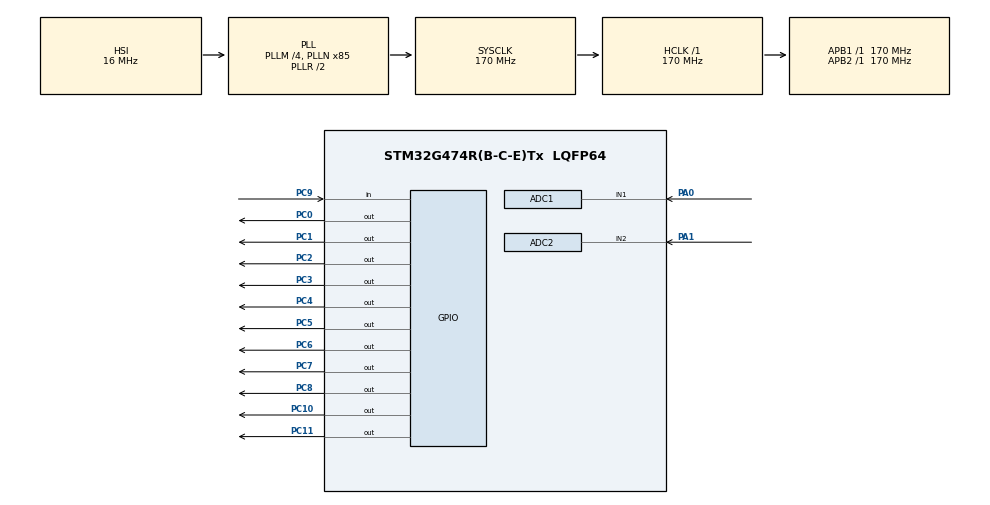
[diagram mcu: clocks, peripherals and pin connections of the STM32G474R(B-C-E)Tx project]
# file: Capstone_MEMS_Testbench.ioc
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ADC1.Channel-3\#ChannelRegularConversion=ADC_CHANNEL_1
ADC1.ClockPrescaler=ADC_CLOCK_ASYNC_DIV4
ADC1.DMAAccessModeView=ENABLE
ADC1.DMAContinuousRequests=ENABLE
ADC1.ExternalTrigConv=ADC_EXTERNALTRIG_T6_TRGO
ADC1.Mode=ADC_DUALMODE_REGSIMULT
ADC1.NbrOfConversionFlag=1
ADC1.OffsetNumber-3\#ChannelRegularConversion=ADC_OFFSET_NONE
ADC1.Rank-3\#ChannelRegularConversion=1
ADC1.SamplingTime-3\#ChannelRegularConversion=ADC_SAMPLETIME_12CYCLES_5
ADC1.master=1
ADC2.Channel-0\#ChannelRegularConversion=ADC_CHANNEL_2
ADC2.ClockPrescaler=ADC_CLOCK_ASYNC_DIV4
ADC2.DMAAccessModeView=ENABLE
ADC2.Mode=ADC_DUALMODE_REGSIMULT
ADC2.NbrOfConversionFlag=1
ADC2.OffsetNumber-0\#ChannelRegularConversion=ADC_OFFSET_NONE
ADC2.Rank-0\#ChannelRegularConversion=1
ADC2.SamplingTime-0\#ChannelRegularConversion=ADC_SAMPLETIME_12CYCLES_5
Dma.ADC1.0.Direction=DMA_PERIPH_TO_MEMORY
Dma.ADC1.0.EventEnable=DISABLE
Dma.ADC1.0.Instance=DMA1_Channel1
Dma.ADC1.0.MemDataAlignment=DMA_MDATAALIGN_WORD
Dma.ADC1.0.MemInc=DMA_MINC_ENABLE
Dma.ADC1.0.Mode=DMA_CIRCULAR
Dma.ADC1.0.PeriphDataAlignment=DMA_PDATAALIGN_WORD
Dma.ADC1.0.PeriphInc=DMA_PINC_DISABLE
Dma.ADC1.0.Polarity=HAL_DMAMUX_REQ_GEN_RISING
Dma.ADC1.0.Priority=DMA_PRIORITY_VERY_HIGH
Dma.ADC1.0.RequestNumber=1
Dma.ADC1.0.SignalID=NONE
Dma.ADC1.0.SyncEnable=DISABLE
Dma.ADC1.0.SyncPolarity=HAL_DMAMUX_SYNC_NO_EVENT
Dma.ADC1.0.SyncRequestNumber=1
Dma.ADC1.0.SyncSignalID=NONE
Dma.Request0=ADC1
Mcu.Family=STM32G4
Mcu.Name=STM32G474R(B-C-E)Tx
Mcu.Package=LQFP64
NUCLEO-G474RE.BUTTON=1
NUCLEO-G474RE.Bsp_Common_DEMO=true
NUCLEO-G474RE.LD2=true
NUCLEO-G474RE.VCP=true
NVIC.DMA1_Channel1_IRQn=true\:0\:0\:false\:false\:true\:false\:true\:true
NVIC.EXTI15_10_IRQn=true\:0\:0\:false\:false\:true\:false\:true\:true
NVIC.PriorityGroup=NVIC_PRIORITYGROUP_4
PA0.Mode=IN1-Single-Ended
PA0.Signal=ADC1_IN1
PA1.Mode=IN2-Single-Ended
PA1.Signal=ADC2_IN2
PA13.GPIO_Label=T_SWDIO
PA13.Signal=SYS_JTMS-SWDIO
PA14.GPIO_Label=T_SWCLK
PA14.Signal=SYS_JTCK-SWCLK
PA2.Signal=LPUART1_TX
PA3.Signal=LPUART1_RX
PB3.GPIO_Label=T_SWO
PB3.Signal=SYS_JTDO-SWO
PC0.GPIO_Speed=GPIO_SPEED_FREQ_VERY_HIGH
PC0.Signal=GPIO_Output
PC1.GPIO_Speed=GPIO_SPEED_FREQ_VERY_HIGH
PC1.Signal=GPIO_Output
PC10.Signal=GPIO_Output
PC11.Signal=GPIO_Output
PC14-OSC32_IN.GPIO_Label=RCC_OSC32_IN
PC14-OSC32_IN.Signal=RCC_OSC32_IN
PC15-OSC32_OUT.GPIO_Label=RCC_OSC32_OUT
PC15-OSC32_OUT.Signal=RCC_OSC32_OUT
PC2.GPIO_Speed=GPIO_SPEED_FREQ_VERY_HIGH
PC2.Signal=GPIO_Output
PC3.GPIO_Speed=GPIO_SPEED_FREQ_VERY_HIGH
PC3.Signal=GPIO_Output
PC4.GPIO_Speed=GPIO_SPEED_FREQ_VERY_HIGH
PC4.Signal=GPIO_Output
PC5.GPIO_Speed=GPIO_SPEED_FREQ_VERY_HIGH
PC5.Signal=GPIO_Output
PC6.GPIO_Speed=GPIO_SPEED_FREQ_VERY_HIGH
PC6.Signal=GPIO_Output
PC7.GPIO_Speed=GPIO_SPEED_FREQ_VERY_HIGH
PC7.Signal=GPIO_Output
PC8.GPIO_Speed=GPIO_SPEED_FREQ_VERY_HIGH
PC8.Signal=GPIO_Output
PC9.Signal=GPIO_Input
PF0-OSC_IN.GPIO_Label=RCC_OSC_IN
PF0-OSC_IN.Signal=RCC_OSC_IN
PF1-OSC_OUT.GPIO_Label=RCC_OSC_OUT
PF1-OSC_OUT.Signal=RCC_OSC_OUT
ProjectManager.HeapSize=0x200
ProjectManager.StackSize=0x400
ProjectManager.TargetToolchain=CMake
RCC.ADC12Freq_Value=170000000
RCC.ADC345Freq_Value=170000000
RCC.AHBFreq_Value=170000000
RCC.APB1Freq_Value=170000000
RCC.APB1TimFreq_Value=170000000
RCC.APB2Freq_Value=170000000
RCC.APB2TimFreq_Value=170000000
RCC.CortexFreq_Value=170000000
RCC.EXTERNAL_CLOCK_VALUE=12288000
RCC.HCLKFreq_Value=170000000
RCC.HSE_VALUE=24000000
RCC.HSI48_VALUE=48000000
RCC.HSI_VALUE=16000000
RCC.LSE_VALUE=32768
RCC.PLLM=RCC_PLLM_DIV4
RCC.PLLN=85
RCC.RTCClockSelection=RCC_RTCCLKSOURCE_LSE
RCC.SYSCLKFreq_VALUE=170000000
RCC.SYSCLKSource=RCC_SYSCLKSOURCE_PLLCLK
RCC.USBFreq_Value=170000000
RCC.VCOOutputFreq_Value=340000000
TIM6.PeriodNoDither=99
TIM6.Prescaler=169
TIM6.TIM_MasterOutputTrigger=TIM_TRGO_UPDATE
VP_NUCLEO-G474RE_VS_BSP_COMMON.Mode=COMMON
VP_SYS_VS_DBSignals.Mode=DisableDeadBatterySignals
VP_TIM6_VS_ClockSourceINT.Mode=Enable_Timer
board=NUCLEO-G474RE

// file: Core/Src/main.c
/* USER CODE BEGIN Header */
/**
  ******************************************************************************
  * @file           : main.c
  * @brief          : Main program body
  ******************************************************************************
  * @attention
  *
  * Copyright (c) 2026 STMicroelectronics.
  * All rights reserved.
  *
  * This software is licensed under terms that can be found in the LICENSE file
  * in the root directory of this software component.
  * If no LICENSE file comes with this software, it is provided AS-IS.
  *
  ******************************************************************************
  */
/* USER CODE END Header */
#include "main.h"
#include "stm32g4xx_hal.h"

COM_InitTypeDef BspCOMInit;
__IO uint32_t BspButtonState = BUTTON_RELEASED;
ADC_HandleTypeDef hadc1;
ADC_HandleTypeDef hadc2;
DMA_HandleTypeDef hdma_adc1;

TIM_HandleTypeDef htim6;

/* USER CODE BEGIN PV */
#define ADC_BUFFER_SIZE 4096
uint32_t adc_buffer[ADC_BUFFER_SIZE];
/* USER CODE END PV */

void SystemClock_Config(void);
static void MX_GPIO_Init(void);
static void MX_DMA_Init(void);
static void MX_TIM6_Init(void);
static void MX_ADC1_Init(void);
static void MX_ADC2_Init(void);
/* USER CODE BEGIN PFP */
void FT232_WriteByte(uint8_t data);
/* USER CODE END PFP */

int main(void)
{

  /* MCU Configuration--------------------------------------------------------*/

  /* Reset of all peripherals, Initializes the Flash interface and the Systick. */
  HAL_Init();

  /* Configure the system clock */
  SystemClock_Config();

  /* Initialize all configured peripherals */
  MX_GPIO_Init();
  MX_DMA_Init();
  MX_TIM6_Init();
  MX_ADC1_Init();
  MX_ADC2_Init();
  /* USER CODE BEGIN 2 */
  HAL_ADC_Start(&hadc2);   // start slave ADC first

  HAL_ADCEx_MultiModeStart_DMA(
      &hadc1,
      (uint32_t*)adc_buffer,
      ADC_BUFFER_SIZE
  ); // start master ADC with DMA, this will also trigger the slave ADC conversions

  HAL_TIM_Base_Start(&htim6); // start timer, this will trigger the ADC conversions via the timer TRGO
  /* USER CODE END 2 */

  /* Initialize led */
  BSP_LED_Init(LED_GREEN);

  /* Initialize USER push-button, will be used to trigger an interrupt each time it's pressed.*/
  BSP_PB_Init(BUTTON_USER, BUTTON_MODE_EXTI);

  /* Initialize COM1 port (115200, 8 bits (7-bit data + 1 stop bit), no parity */
  BspCOMInit.BaudRate   = 115200;
  BspCOMInit.WordLength = COM_WORDLENGTH_8B;
  BspCOMInit.StopBits   = COM_STOPBITS_1;
  BspCOMInit.Parity     = COM_PARITY_NONE;
  BspCOMInit.HwFlowCtl  = COM_HWCONTROL_NONE;
  if (BSP_COM_Init(COM1, &BspCOMInit) != BSP_ERROR_NONE)
  {
    Error_Handler();
  }

  /* USER CODE BEGIN BSP */

  /* -- Sample board code to send message over COM1 port ---- */
  printf("Welcome to STM32 world !\n\r");

  /* -- Sample board code to switch on led ---- */
  BSP_LED_On(LED_GREEN);

  /* USER CODE END BSP */

  /* Infinite loop */
  /* USER CODE BEGIN WHILE */
  while (1)
  {
    // FIFO testing code, should be removed in final version
    // static uint8_t counter = 0;
    // FT232_WriteByte(counter++);
    // HAL_Delay(1);
    /* -- Sample board code for User push-button in interrupt mode ---- */
    if (BspButtonState == BUTTON_PRESSED)
    {
      /* Update button state */
      BspButtonState = BUTTON_RELEASED;
      /* -- Sample board code to toggle led ---- */
      BSP_LED_Toggle(LED_GREEN);
      // HAL_Delay(500); /* Delay of 100ms */
      /* ..... Perform your action ..... */
    }
    /* USER CODE END WHILE */

  }
}

void SystemClock_Config(void)
{
  RCC_OscInitTypeDef RCC_OscInitStruct = {0};
  RCC_ClkInitTypeDef RCC_ClkInitStruct = {0};

  /** Configure the main internal regulator output voltage
  */
  HAL_PWREx_ControlVoltageScaling(PWR_REGULATOR_VOLTAGE_SCALE1_BOOST);

  /** Initializes the RCC Oscillators according to the specified parameters
  * in the RCC_OscInitTypeDef structure.
  */
  RCC_OscInitStruct.OscillatorType = RCC_OSCILLATORTYPE_HSI;
  RCC_OscInitStruct.HSIState = RCC_HSI_ON;
  RCC_OscInitStruct.HSICalibrationValue = RCC_HSICALIBRATION_DEFAULT;
  RCC_OscInitStruct.PLL.PLLState = RCC_PLL_ON;
  RCC_OscInitStruct.PLL.PLLSource = RCC_PLLSOURCE_HSI;
  RCC_OscInitStruct.PLL.PLLM = RCC_PLLM_DIV4;
  RCC_OscInitStruct.PLL.PLLN = 85;
  RCC_OscInitStruct.PLL.PLLP = RCC_PLLP_DIV2;
  RCC_OscInitStruct.PLL.PLLQ = RCC_PLLQ_DIV2;
  RCC_OscInitStruct.PLL.PLLR = RCC_PLLR_DIV2;
  if (HAL_RCC_OscConfig(&RCC_OscInitStruct) != HAL_OK)
  {
    Error_Handler();
  }

  /** Initializes the CPU, AHB and APB buses clocks
  */
  RCC_ClkInitStruct.ClockType = RCC_CLOCKTYPE_HCLK|RCC_CLOCKTYPE_SYSCLK
                              |RCC_CLOCKTYPE_PCLK1|RCC_CLOCKTYPE_PCLK2;
  RCC_ClkInitStruct.SYSCLKSource = RCC_SYSCLKSOURCE_PLLCLK;
  RCC_ClkInitStruct.AHBCLKDivider = RCC_SYSCLK_DIV1;
  RCC_ClkInitStruct.APB1CLKDivider = RCC_HCLK_DIV1;
  RCC_ClkInitStruct.APB2CLKDivider = RCC_HCLK_DIV1;

  if (HAL_RCC_ClockConfig(&RCC_ClkInitStruct, FLASH_LATENCY_4) != HAL_OK)
  {
    Error_Handler();
  }
}

static void MX_ADC1_Init(void)
{

  ADC_MultiModeTypeDef multimode = {0};
  ADC_ChannelConfTypeDef sConfig = {0};

  /** Common config
  */
  hadc1.Instance = ADC1;
  hadc1.Init.ClockPrescaler = ADC_CLOCK_ASYNC_DIV4;
  hadc1.Init.Resolution = ADC_RESOLUTION_12B;
  hadc1.Init.DataAlign = ADC_DATAALIGN_RIGHT;
  hadc1.Init.GainCompensation = 0;
  hadc1.Init.ScanConvMode = ADC_SCAN_DISABLE;
  hadc1.Init.EOCSelection = ADC_EOC_SINGLE_CONV;
  hadc1.Init.LowPowerAutoWait = DISABLE;
  hadc1.Init.ContinuousConvMode = DISABLE;
  hadc1.Init.NbrOfConversion = 1;
  hadc1.Init.DiscontinuousConvMode = DISABLE;
  hadc1.Init.ExternalTrigConv = ADC_EXTERNALTRIG_T6_TRGO;
  hadc1.Init.ExternalTrigConvEdge = ADC_EXTERNALTRIGCONVEDGE_RISING;
  hadc1.Init.DMAContinuousRequests = ENABLE;
  hadc1.Init.Overrun = ADC_OVR_DATA_PRESERVED;
  hadc1.Init.OversamplingMode = DISABLE;
  if (HAL_ADC_Init(&hadc1) != HAL_OK)
  {
    Error_Handler();
  }

  /** Configure the ADC multi-mode
  */
  multimode.Mode = ADC_DUALMODE_REGSIMULT;
  multimode.DMAAccessMode = ADC_DMAACCESSMODE_12_10_BITS;
  multimode.TwoSamplingDelay = ADC_TWOSAMPLINGDELAY_1CYCLE;
  if (HAL_ADCEx_MultiModeConfigChannel(&hadc1, &multimode) != HAL_OK)
  {
    Error_Handler();
  }

  /** Configure Regular Channel
  */
  sConfig.Channel = ADC_CHANNEL_1;
  sConfig.Rank = ADC_REGULAR_RANK_1;
  sConfig.SamplingTime = ADC_SAMPLETIME_12CYCLES_5;
  sConfig.SingleDiff = ADC_SINGLE_ENDED;
  sConfig.OffsetNumber = ADC_OFFSET_NONE;
  sConfig.Offset = 0;
  if (HAL_ADC_ConfigChannel(&hadc1, &sConfig) != HAL_OK)
  {
    Error_Handler();
  }

}

static void MX_ADC2_Init(void)
{

  ADC_ChannelConfTypeDef sConfig = {0};

  /** Common config
  */
  hadc2.Instance = ADC2;
  hadc2.Init.ClockPrescaler = ADC_CLOCK_ASYNC_DIV4;
  hadc2.Init.Resolution = ADC_RESOLUTION_12B;
  hadc2.Init.DataAlign = ADC_DATAALIGN_RIGHT;
  hadc2.Init.GainCompensation = 0;
  hadc2.Init.ScanConvMode = ADC_SCAN_DISABLE;
  hadc2.Init.EOCSelection = ADC_EOC_SINGLE_CONV;
  hadc2.Init.LowPowerAutoWait = DISABLE;
  hadc2.Init.ContinuousConvMode = DISABLE;
  hadc2.Init.NbrOfConversion = 1;
  hadc2.Init.DiscontinuousConvMode = DISABLE;
  hadc2.Init.DMAContinuousRequests = DISABLE;
  hadc2.Init.Overrun = ADC_OVR_DATA_PRESERVED;
  hadc2.Init.OversamplingMode = DISABLE;
  if (HAL_ADC_Init(&hadc2) != HAL_OK)
  {
    Error_Handler();
  }

  /** Configure Regular Channel
  */
  sConfig.Channel = ADC_CHANNEL_2;
  sConfig.Rank = ADC_REGULAR_RANK_1;
  sConfig.SamplingTime = ADC_SAMPLETIME_12CYCLES_5;
  sConfig.SingleDiff = ADC_SINGLE_ENDED;
  sConfig.OffsetNumber = ADC_OFFSET_NONE;
  sConfig.Offset = 0;
  if (HAL_ADC_ConfigChannel(&hadc2, &sConfig) != HAL_OK)
  {
    Error_Handler();
  }

}

static void MX_TIM6_Init(void)
{

  TIM_MasterConfigTypeDef sMasterConfig = {0};

  htim6.Instance = TIM6;
  htim6.Init.Prescaler = 169;
  htim6.Init.CounterMode = TIM_COUNTERMODE_UP;
  htim6.Init.Period = 99;
  htim6.Init.AutoReloadPreload = TIM_AUTORELOAD_PRELOAD_DISABLE;
  if (HAL_TIM_Base_Init(&htim6) != HAL_OK)
  {
    Error_Handler();
  }
  sMasterConfig.MasterOutputTrigger = TIM_TRGO_UPDATE;
  sMasterConfig.MasterSlaveMode = TIM_MASTERSLAVEMODE_DISABLE;
  if (HAL_TIMEx_MasterConfigSynchronization(&htim6, &sMasterConfig) != HAL_OK)
  {
    Error_Handler();
  }

}

static void MX_DMA_Init(void)
{

  /* DMA controller clock enable */
  __HAL_RCC_DMAMUX1_CLK_ENABLE();
  __HAL_RCC_DMA1_CLK_ENABLE();

  /* DMA interrupt init */
  /* DMA1_Channel1_IRQn interrupt configuration */
  HAL_NVIC_SetPriority(DMA1_Channel1_IRQn, 0, 0);
  HAL_NVIC_EnableIRQ(DMA1_Channel1_IRQn);

}

static void MX_GPIO_Init(void)
{
  GPIO_InitTypeDef GPIO_InitStruct = {0};

  /* GPIO Ports Clock Enable */
  __HAL_RCC_GPIOC_CLK_ENABLE();
  __HAL_RCC_GPIOF_CLK_ENABLE();
  __HAL_RCC_GPIOA_CLK_ENABLE();
  __HAL_RCC_GPIOB_CLK_ENABLE();

  /*Configure GPIO pin Output Level */
  HAL_GPIO_WritePin(GPIOC, GPIO_PIN_0|GPIO_PIN_1|GPIO_PIN_2|GPIO_PIN_3
                          |GPIO_PIN_4|GPIO_PIN_5|GPIO_PIN_6|GPIO_PIN_7
                          |GPIO_PIN_8|GPIO_PIN_10|GPIO_PIN_11, GPIO_PIN_RESET);

  /*Configure GPIO pins : PC0 PC1 PC2 PC3
                           PC4 PC5 PC6 PC7
                           PC8 */
  GPIO_InitStruct.Pin = GPIO_PIN_0|GPIO_PIN_1|GPIO_PIN_2|GPIO_PIN_3
                          |GPIO_PIN_4|GPIO_PIN_5|GPIO_PIN_6|GPIO_PIN_7
                          |GPIO_PIN_8;
  GPIO_InitStruct.Mode = GPIO_MODE_OUTPUT_PP;
  GPIO_InitStruct.Pull = GPIO_NOPULL;
  GPIO_InitStruct.Speed = GPIO_SPEED_FREQ_VERY_HIGH;
  HAL_GPIO_Init(GPIOC, &GPIO_InitStruct);

  /*Configure GPIO pin : PC9 */
  GPIO_InitStruct.Pin = GPIO_PIN_9;
  GPIO_InitStruct.Mode = GPIO_MODE_INPUT;
  GPIO_InitStruct.Pull = GPIO_NOPULL;
  HAL_GPIO_Init(GPIOC, &GPIO_InitStruct);

  /*Configure GPIO pins : PC10 PC11 */
  GPIO_InitStruct.Pin = GPIO_PIN_10|GPIO_PIN_11;
  GPIO_InitStruct.Mode = GPIO_MODE_OUTPUT_PP;
  GPIO_InitStruct.Pull = GPIO_NOPULL;
  GPIO_InitStruct.Speed = GPIO_SPEED_FREQ_LOW;
  HAL_GPIO_Init(GPIOC, &GPIO_InitStruct);

}

/* USER CODE BEGIN 4 */
void FT232_WriteByte(uint8_t data)
{
    // Wait until FIFO ready
    while(HAL_GPIO_ReadPin(GPIOC, GPIO_PIN_9) == GPIO_PIN_SET);

    // Write data to PC0–PC7
    GPIOC->ODR = (GPIOC->ODR & 0xFF00) | data;

    // Toggle WR
    HAL_GPIO_WritePin(GPIOC, GPIO_PIN_8, GPIO_PIN_RESET);
    HAL_GPIO_WritePin(GPIOC, GPIO_PIN_8, GPIO_PIN_SET);
}
void process_adc_data(uint32_t* data, uint32_t length)
{
    for(uint32_t i=0;i<length;i++)
    {
        uint16_t mems      = data[i] & 0xFFFF;
        uint16_t reference = data[i] >> 16;

        FT232_WriteByte(mems & 0xFF);
        FT232_WriteByte(mems >> 8);

        FT232_WriteByte(reference & 0xFF);
        FT232_WriteByte(reference >> 8);
        // printf("MEMS:%u REF:%u\r\n", mems, reference); // for debugging purposes, SHOULD BE REMOVED IN FINAL VERSION as it can significantly slow down the processing, especially if the COM port is not fast enough
        // later we will do
        // phase detection
        // amplitude measurement
    }
}
void HAL_ADC_ConvHalfCpltCallback(ADC_HandleTypeDef* hadc)
{
    if(hadc->Instance == ADC1)
    {
        // Process first half of buffer
        process_adc_data(&adc_buffer[0], ADC_BUFFER_SIZE/2);
    }
}

void HAL_ADC_ConvCpltCallback(ADC_HandleTypeDef* hadc)
{
    if(hadc->Instance == ADC1)
    {
        // Process second half of buffer
        process_adc_data(&adc_buffer[ADC_BUFFER_SIZE/2], ADC_BUFFER_SIZE/2);
    }
}
/* USER CODE END 4 */

/**
  * @brief BSP Push Button callback
  * @param Button Specifies the pressed button
  * @retval None
  */
void BSP_PB_Callback(Button_TypeDef Button)
{
  if (Button == BUTTON_USER)
  {
    BspButtonState = BUTTON_PRESSED;
  }
}

void Error_Handler(void)
{
  __disable_irq();
  while (1)
  {
  }
}
